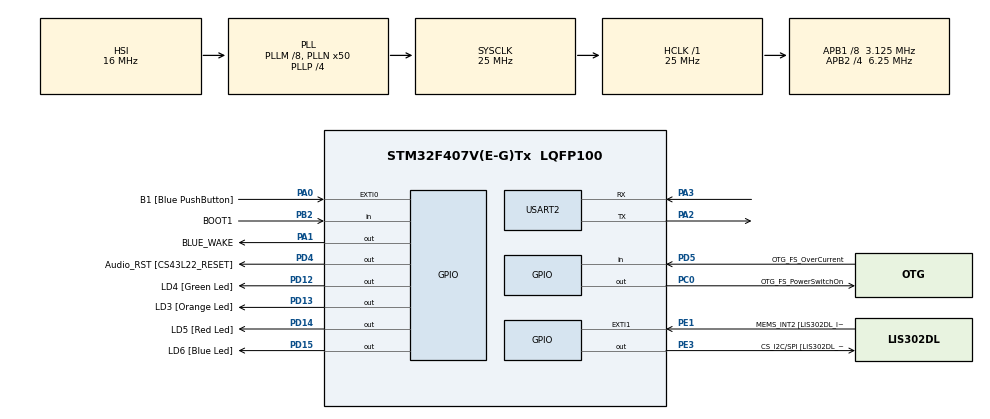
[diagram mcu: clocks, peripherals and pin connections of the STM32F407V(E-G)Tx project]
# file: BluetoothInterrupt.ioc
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Mcu.Family=STM32F4
Mcu.Name=STM32F407V(E-G)Tx
Mcu.Package=LQFP100
NVIC.EXTI0_IRQn=true\:0\:0\:false\:false\:true
NVIC.PriorityGroup=NVIC_PRIORITYGROUP_0
NVIC.USART2_IRQn=true\:0\:0\:false\:false\:true
PA0-WKUP.GPIO_Label=B1 [Blue PushButton]
PA0-WKUP.GPIO_ModeDefaultEXTI=GPIO_MODE_IT_RISING
PA0-WKUP.GPIO_PuPd=GPIO_NOPULL
PA0-WKUP.Signal=GPXTI0
PA1.GPIO_Label=BLUE_WAKE
PA1.Signal=GPIO_Output
PA10.GPIO_Label=OTG_FS_ID
PA10.GPIO_Mode=GPIO_MODE_AF_PP
PA10.GPIO_PuPd=GPIO_NOPULL
PA10.GPIO_Speed=GPIO_SPEED_FREQ_LOW
PA10.Signal=USB_OTG_FS_ID
PA11.GPIO_Label=OTG_FS_DM
PA11.GPIO_Mode=GPIO_MODE_AF_PP
PA11.GPIO_PuPd=GPIO_NOPULL
PA11.GPIO_Speed=GPIO_SPEED_FREQ_LOW
PA11.Signal=USB_OTG_FS_DM
PA12.GPIO_Label=OTG_FS_DP
PA12.GPIO_Mode=GPIO_MODE_AF_PP
PA12.GPIO_PuPd=GPIO_NOPULL
PA12.GPIO_Speed=GPIO_SPEED_FREQ_LOW
PA12.Signal=USB_OTG_FS_DP
PA13.GPIO_Label=SWDIO
PA13.Signal=SYS_JTMS-SWDIO
PA14.GPIO_Label=SWCLK
PA14.Signal=SYS_JTCK-SWCLK
PA2.Mode=Asynchronous
PA2.Signal=USART2_TX
PA3.Mode=Asynchronous
PA3.Signal=USART2_RX
PA4.GPIO_Label=I2S3_WS [CS43L22_LRCK]
PA4.GPIO_Mode=GPIO_MODE_AF_PP
PA4.GPIO_PuPd=GPIO_NOPULL
PA4.GPIO_Speed=GPIO_SPEED_FREQ_LOW
PA4.Signal=I2S3_WS
PA5.GPIO_Label=SPI1_SCK [LIS302DL_SCL/SPC]
PA5.GPIO_Mode=GPIO_MODE_AF_PP
PA5.GPIO_PuPd=GPIO_NOPULL
PA5.GPIO_Speed=GPIO_SPEED_FREQ_LOW
PA5.Signal=SPI1_SCK
PA6.GPIO_Label=SPI1_MISO [LIS302DL_SDO]
PA6.GPIO_Mode=GPIO_MODE_AF_PP
PA6.GPIO_PuPd=GPIO_NOPULL
PA6.GPIO_Speed=GPIO_SPEED_FREQ_LOW
PA6.Signal=SPI1_MISO
PA7.GPIO_Label=SPI1_MOSI [LIS302DL_SDA/SDI/SDO]
PA7.GPIO_Mode=GPIO_MODE_AF_PP
PA7.GPIO_PuPd=GPIO_NOPULL
PA7.GPIO_Speed=GPIO_SPEED_FREQ_LOW
PA7.Signal=SPI1_MOSI
PA9.GPIO_Label=VBUS_FS
PA9.GPIO_Mode=GPIO_MODE_INPUT
PA9.GPIO_PuPd=GPIO_NOPULL
PA9.Signal=USB_OTG_FS_VBUS
PB10.GPIO_Label=CLK_IN [MP45DT02_CLK]
PB10.GPIO_Mode=GPIO_MODE_AF_PP
PB10.GPIO_PuPd=GPIO_NOPULL
PB10.GPIO_Speed=GPIO_SPEED_FREQ_LOW
PB10.Signal=I2S2_CK
PB2.GPIO_Label=BOOT1
PB2.GPIO_Mode=GPIO_MODE_INPUT
PB2.GPIO_PuPd=GPIO_NOPULL
PB2.Signal=GPIO_Input
PB3.GPIO_Label=SWO
PB3.Signal=SYS_JTDO-SWO
PB6.GPIO_Label=Audio_SCL [CS43L22_SCL]
PB6.GPIO_Mode=GPIO_MODE_AF_OD
PB6.GPIO_PuPd=GPIO_NOPULL
PB6.GPIO_Speed=GPIO_SPEED_FREQ_LOW
PB6.Signal=I2C1_SCL
PB9.GPIO_Label=Audio_SDA [CS43L22_SDA]
PB9.GPIO_Mode=GPIO_MODE_AF_OD
PB9.GPIO_PuPd=GPIO_NOPULL
PB9.GPIO_Speed=GPIO_SPEED_FREQ_LOW
PB9.Signal=I2C1_SDA
PC0.GPIO_Label=OTG_FS_PowerSwitchOn
PC0.GPIO_PuPd=GPIO_NOPULL
PC0.GPIO_Speed=GPIO_SPEED_FREQ_LOW
PC0.PinState=GPIO_PIN_SET
PC0.Signal=GPIO_Output
PC10.GPIO_Label=I2S3_SCK [CS43L22_SCLK]
PC10.GPIO_Mode=GPIO_MODE_AF_PP
PC10.GPIO_PuPd=GPIO_NOPULL
PC10.GPIO_Speed=GPIO_SPEED_FREQ_LOW
PC10.Signal=I2S3_CK
PC12.GPIO_Label=I2S3_SD [CS43L22_SDIN]
PC12.GPIO_Mode=GPIO_MODE_AF_PP
PC12.GPIO_PuPd=GPIO_NOPULL
PC12.GPIO_Speed=GPIO_SPEED_FREQ_LOW
PC12.Signal=I2S3_SD
PC14-OSC32_IN.GPIO_Label=PC14-OSC32_IN
PC14-OSC32_IN.Signal=RCC_OSC32_IN
PC15-OSC32_OUT.GPIO_Label=PC15-OSC32_OUT
PC15-OSC32_OUT.Signal=RCC_OSC32_OUT
PC3.GPIO_Label=PDM_OUT [MP45DT02_DOUT]
PC3.GPIO_Mode=GPIO_MODE_AF_PP
PC3.GPIO_PuPd=GPIO_NOPULL
PC3.GPIO_Speed=GPIO_SPEED_FREQ_LOW
PC3.Signal=I2S2_SD
PC7.GPIO_Label=I2S3_MCK [CS43L22_MCLK]
PC7.GPIO_Mode=GPIO_MODE_AF_PP
PC7.GPIO_PuPd=GPIO_NOPULL
PC7.GPIO_Speed=GPIO_SPEED_FREQ_LOW
PC7.Signal=I2S3_MCK
PD12.GPIO_Label=LD4 [Green Led]
PD12.GPIO_PuPd=GPIO_NOPULL
PD12.GPIO_Speed=GPIO_SPEED_FREQ_LOW
PD12.Signal=GPIO_Output
PD13.GPIO_Label=LD3 [Orange Led]
PD13.GPIO_PuPd=GPIO_NOPULL
PD13.GPIO_Speed=GPIO_SPEED_FREQ_LOW
PD13.Signal=GPIO_Output
PD14.GPIO_Label=LD5 [Red Led]
PD14.GPIO_PuPd=GPIO_NOPULL
PD14.GPIO_Speed=GPIO_SPEED_FREQ_LOW
PD14.Signal=GPIO_Output
PD15.GPIO_Label=LD6 [Blue Led]
PD15.GPIO_PuPd=GPIO_NOPULL
PD15.GPIO_Speed=GPIO_SPEED_FREQ_LOW
PD15.Signal=GPIO_Output
PD4.GPIO_Label=Audio_RST [CS43L22_RESET]
PD4.GPIO_PuPd=GPIO_NOPULL
PD4.GPIO_Speed=GPIO_SPEED_FREQ_LOW
PD4.Signal=GPIO_Output
PD5.GPIO_Label=OTG_FS_OverCurrent
PD5.GPIO_Mode=GPIO_MODE_INPUT
PD5.GPIO_PuPd=GPIO_NOPULL
PD5.Signal=GPIO_Input
PE1.GPIO_Label=MEMS_INT2 [LIS302DL_INT2]
PE1.GPIO_ModeDefaultEXTI=GPIO_MODE_EVT_RISING
PE1.GPIO_PuPd=GPIO_NOPULL
PE1.Signal=GPXTI1
PE3.GPIO_Label=CS_I2C/SPI [LIS302DL_CS_I2C/SPI]
PE3.GPIO_PuPd=GPIO_NOPULL
PE3.GPIO_Speed=GPIO_SPEED_FREQ_LOW
PE3.Signal=GPIO_Output
PH0-OSC_IN.GPIO_Label=PH0-OSC_IN
PH0-OSC_IN.Signal=RCC_OSC_IN
PH1-OSC_OUT.GPIO_Label=PH1-OSC_OUT
PH1-OSC_OUT.Signal=RCC_OSC_OUT
ProjectManager.HeapSize=0x200
ProjectManager.StackSize=0x400
ProjectManager.TargetToolchain=SW4STM32
RCC.48MHZClocksFreq_Value=14285714.285714285
RCC.AHBFreq_Value=25000000
RCC.APB1CLKDivider=RCC_HCLK_DIV8
RCC.APB1Freq_Value=3125000
RCC.APB1TimFreq_Value=6250000
RCC.APB2CLKDivider=RCC_HCLK_DIV4
RCC.APB2Freq_Value=6250000
RCC.APB2TimFreq_Value=12500000
RCC.CortexFreq_Value=25000000
RCC.HCLKFreq_Value=25000000
RCC.HSE_VALUE=8000000
RCC.HSI_VALUE=16000000
RCC.LSE_VALUE=32768
RCC.PLLM=8
RCC.PLLN=50
RCC.PLLP=RCC_PLLP_DIV4
RCC.PLLQ=7
RCC.SYSCLKFreq_VALUE=25000000
RCC.SYSCLKSource=RCC_SYSCLKSOURCE_PLLCLK
RCC.VCOOutputFreq_Value=100000000
board=STM32F4DISCOVERY

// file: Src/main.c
/**
  ******************************************************************************
  * File Name          : main.c
  * Description        : Main program body
  ******************************************************************************
  *
  * COPYRIGHT(c) 2016 STMicroelectronics
  *
  * Redistribution and use in source and binary forms, with or without modification,
  * are permitted provided that the following conditions are met:
  *   1. Redistributions of source code must retain the above copyright notice,
  *      this list of conditions and the following disclaimer.
  *   2. Redistributions in binary form must reproduce the above copyright notice,
  *      this list of conditions and the following disclaimer in the documentation
  *      and/or other materials provided with the distribution.
  *   3. Neither the name of STMicroelectronics nor the names of its contributors
  *      may be used to endorse or promote products derived from this software
  *      without specific prior written permission.
  *
  * THIS SOFTWARE IS PROVIDED BY THE COPYRIGHT HOLDERS AND CONTRIBUTORS "AS IS"
  * AND ANY EXPRESS OR IMPLIED WARRANTIES, INCLUDING, BUT NOT LIMITED TO, THE
  * IMPLIED WARRANTIES OF MERCHANTABILITY AND FITNESS FOR A PARTICULAR PURPOSE ARE
  * DISCLAIMED. IN NO EVENT SHALL THE COPYRIGHT HOLDER OR CONTRIBUTORS BE LIABLE
  * FOR ANY DIRECT, INDIRECT, INCIDENTAL, SPECIAL, EXEMPLARY, OR CONSEQUENTIAL
  * DAMAGES (INCLUDING, BUT NOT LIMITED TO, PROCUREMENT OF SUBSTITUTE GOODS OR
  * SERVICES; LOSS OF USE, DATA, OR PROFITS; OR BUSINESS INTERRUPTION) HOWEVER
  * CAUSED AND ON ANY THEORY OF LIABILITY, WHETHER IN CONTRACT, STRICT LIABILITY,
  * OR TORT (INCLUDING NEGLIGENCE OR OTHERWISE) ARISING IN ANY WAY OUT OF THE USE
  * OF THIS SOFTWARE, EVEN IF ADVISED OF THE POSSIBILITY OF SUCH DAMAGE.
  *
  ******************************************************************************
  */
#include "main.h"
#include "stm32f4xx_hal.h"

UART_HandleTypeDef huart2;

/* USER CODE BEGIN PV */
/* Private variables ---------------------------------------------------------*/
char bluetoothTxBuffer[100] = "R,1\r\n";
uint8_t bluetoothRxBuffer[2] = {0};

uint8_t commandBuffer[30] = {0};
uint8_t commandBufferIndex = 0;
volatile uint8_t commandReceiveCompleted = 0;

uint8_t currentBatteryLevel = 0;
volatile uint8_t changeBatteryService = 0;

/* USER CODE END PV */

void SystemClock_Config(void);
void Error_Handler(void);
static void MX_GPIO_Init(void);
static void MX_USART2_UART_Init(void);

/* USER CODE BEGIN PFP */
/* Private function prototypes -----------------------------------------------*/

/* USER CODE END PFP */

/* USER CODE BEGIN 0 */
void HAL_UART_RxCpltCallback (UART_HandleTypeDef* huart) {
	if (huart->Instance == USART2) {
		// If we are receiving a new command, zero out its buffer
		if (commandBufferIndex == 0) for (uint8_t i = 0; i < 30; i++) commandBuffer[i] = 0;

		// Check if we have received new-line - end of command
		if (commandReceiveCompleted == 0 && bluetoothRxBuffer[0] != '\n') {
			// Add the received character to the end of the commandBuffer
			commandBuffer[commandBufferIndex++] = bluetoothRxBuffer[0];
		} else if (bluetoothRxBuffer[0] == '\n') {
			commandBufferIndex = 0;
			commandReceiveCompleted = 1;
		}
	}
	HAL_UART_Receive_IT(&huart2, bluetoothRxBuffer, 1);
}

void HAL_GPIO_EXTI_Callback(uint16_t GPIO_Pin) {
	if (GPIO_Pin == B1_Pin) {
		changeBatteryService = 1;
	}
}

void HAL_UART_ErrorCallback(UART_HandleTypeDef* huart) {
	HAL_GPIO_TogglePin(LD5_GPIO_Port, LD5_Pin);
	HAL_UART_Receive_IT(&huart2, bluetoothRxBuffer, 1);
}

void BLUE_Process_Command(uint8_t* command) {
	// We are only interested in the WV,001C command
	if (command[0] == 'W' && command[1] == 'V') {
		if (command[5] == '1' && command[6] == 'C') {
			GPIO_PinState stateToSet = GPIO_PIN_SET;
			if (command[8] == '0' && command[9] == '0') {
				stateToSet = GPIO_PIN_RESET;
			}
			HAL_GPIO_WritePin(LD6_GPIO_Port, LD6_Pin, stateToSet);
		}
	}

	commandReceiveCompleted = 0;
}

void BLUE_Update_Battery() {
	uint8_t commandToSend[] = "SUW,2A19,00\r\n";

	if (currentBatteryLevel == 0) {
		currentBatteryLevel = 99;

		// 63 because the RN4020 takes hex :( and 99 in dec is 63 in hex
		commandToSend[9] = '6';
		commandToSend[10] = '3';
		HAL_UART_Transmit(&huart2, commandToSend, 13, 100);
	} else {
		currentBatteryLevel = 0;
		HAL_UART_Transmit(&huart2, commandToSend, 13, 100);
	}

	changeBatteryService = 0;
}
/* USER CODE END 0 */

int main(void)
{

  /* MCU Configuration----------------------------------------------------------*/

  /* Reset of all peripherals, Initializes the Flash interface and the Systick. */
  HAL_Init();

  /* Configure the system clock */
  SystemClock_Config();

  /* Initialize all configured peripherals */
  MX_GPIO_Init();
  MX_USART2_UART_Init();

  /* USER CODE BEGIN 2 */
  // Wake up the RN4020
  HAL_GPIO_WritePin(BLUE_WAKE_GPIO_Port, BLUE_WAKE_Pin, GPIO_PIN_SET);
  HAL_Delay(100);

  // Restart RN4020 module
  HAL_UART_Transmit(&huart2, (uint8_t *) bluetoothTxBuffer, 5, 10);

  // After restarting, will automatically advertise if configured with SR,20000000
  HAL_Delay(3000);

  // Set UART receive on an interrupt
  HAL_UART_Receive_IT(&huart2, bluetoothRxBuffer, 1);
  /* USER CODE END 2 */

  /* Infinite loop */
  while (1)
  {

  /* USER CODE BEGIN 3 */
	  if (commandReceiveCompleted) BLUE_Process_Command(commandBuffer);
	  if (changeBatteryService) BLUE_Update_Battery();
  }
  /* USER CODE END 3 */

}

/** System Clock Configuration
*/
void SystemClock_Config(void)
{

  RCC_OscInitTypeDef RCC_OscInitStruct;
  RCC_ClkInitTypeDef RCC_ClkInitStruct;

    /**Configure the main internal regulator output voltage
    */
  __HAL_RCC_PWR_CLK_ENABLE();

  __HAL_PWR_VOLTAGESCALING_CONFIG(PWR_REGULATOR_VOLTAGE_SCALE1);

    /**Initializes the CPU, AHB and APB busses clocks
    */
  RCC_OscInitStruct.OscillatorType = RCC_OSCILLATORTYPE_HSI;
  RCC_OscInitStruct.HSIState = RCC_HSI_ON;
  RCC_OscInitStruct.HSICalibrationValue = 16;
  RCC_OscInitStruct.PLL.PLLState = RCC_PLL_ON;
  RCC_OscInitStruct.PLL.PLLSource = RCC_PLLSOURCE_HSI;
  RCC_OscInitStruct.PLL.PLLM = 8;
  RCC_OscInitStruct.PLL.PLLN = 50;
  RCC_OscInitStruct.PLL.PLLP = RCC_PLLP_DIV4;
  RCC_OscInitStruct.PLL.PLLQ = 7;
  if (HAL_RCC_OscConfig(&RCC_OscInitStruct) != HAL_OK)
  {
    Error_Handler();
  }

    /**Initializes the CPU, AHB and APB busses clocks
    */
  RCC_ClkInitStruct.ClockType = RCC_CLOCKTYPE_HCLK|RCC_CLOCKTYPE_SYSCLK
                              |RCC_CLOCKTYPE_PCLK1|RCC_CLOCKTYPE_PCLK2;
  RCC_ClkInitStruct.SYSCLKSource = RCC_SYSCLKSOURCE_PLLCLK;
  RCC_ClkInitStruct.AHBCLKDivider = RCC_SYSCLK_DIV1;
  RCC_ClkInitStruct.APB1CLKDivider = RCC_HCLK_DIV8;
  RCC_ClkInitStruct.APB2CLKDivider = RCC_HCLK_DIV4;

  if (HAL_RCC_ClockConfig(&RCC_ClkInitStruct, FLASH_LATENCY_0) != HAL_OK)
  {
    Error_Handler();
  }

    /**Configure the Systick interrupt time
    */
  HAL_SYSTICK_Config(HAL_RCC_GetHCLKFreq()/1000);

    /**Configure the Systick
    */
  HAL_SYSTICK_CLKSourceConfig(SYSTICK_CLKSOURCE_HCLK);

  /* SysTick_IRQn interrupt configuration */
  HAL_NVIC_SetPriority(SysTick_IRQn, 0, 0);
}

/* USART2 init function */
static void MX_USART2_UART_Init(void)
{

  huart2.Instance = USART2;
  huart2.Init.BaudRate = 115200;
  huart2.Init.WordLength = UART_WORDLENGTH_8B;
  huart2.Init.StopBits = UART_STOPBITS_1;
  huart2.Init.Parity = UART_PARITY_NONE;
  huart2.Init.Mode = UART_MODE_TX_RX;
  huart2.Init.HwFlowCtl = UART_HWCONTROL_NONE;
  huart2.Init.OverSampling = UART_OVERSAMPLING_16;
  if (HAL_UART_Init(&huart2) != HAL_OK)
  {
    Error_Handler();
  }

}

/** Configure pins as
        * Analog
        * Input
        * Output
        * EVENT_OUT
        * EXTI
     PC3   ------> I2S2_SD
     PA4   ------> I2S3_WS
     PA5   ------> SPI1_SCK
     PA6   ------> SPI1_MISO
     PA7   ------> SPI1_MOSI
     PB10   ------> I2S2_CK
     PC7   ------> I2S3_MCK
     PA9   ------> USB_OTG_FS_VBUS
     PA10   ------> USB_OTG_FS_ID
     PA11   ------> USB_OTG_FS_DM
     PA12   ------> USB_OTG_FS_DP
     PC10   ------> I2S3_CK
     PC12   ------> I2S3_SD
     PB6   ------> I2C1_SCL
     PB9   ------> I2C1_SDA
*/
static void MX_GPIO_Init(void)
{

  GPIO_InitTypeDef GPIO_InitStruct;

  /* GPIO Ports Clock Enable */
  __HAL_RCC_GPIOE_CLK_ENABLE();
  __HAL_RCC_GPIOC_CLK_ENABLE();
  __HAL_RCC_GPIOH_CLK_ENABLE();
  __HAL_RCC_GPIOA_CLK_ENABLE();
  __HAL_RCC_GPIOB_CLK_ENABLE();
  __HAL_RCC_GPIOD_CLK_ENABLE();

  /*Configure GPIO pin Output Level */
  HAL_GPIO_WritePin(CS_I2C_SPI_GPIO_Port, CS_I2C_SPI_Pin, GPIO_PIN_RESET);

  /*Configure GPIO pin Output Level */
  HAL_GPIO_WritePin(OTG_FS_PowerSwitchOn_GPIO_Port, OTG_FS_PowerSwitchOn_Pin, GPIO_PIN_SET);

  /*Configure GPIO pin Output Level */
  HAL_GPIO_WritePin(BLUE_WAKE_GPIO_Port, BLUE_WAKE_Pin, GPIO_PIN_RESET);

  /*Configure GPIO pin Output Level */
  HAL_GPIO_WritePin(GPIOD, LD4_Pin|LD3_Pin|LD5_Pin|LD6_Pin
                          |Audio_RST_Pin, GPIO_PIN_RESET);

  /*Configure GPIO pin : CS_I2C_SPI_Pin */
  GPIO_InitStruct.Pin = CS_I2C_SPI_Pin;
  GPIO_InitStruct.Mode = GPIO_MODE_OUTPUT_PP;
  GPIO_InitStruct.Pull = GPIO_NOPULL;
  GPIO_InitStruct.Speed = GPIO_SPEED_FREQ_LOW;
  HAL_GPIO_Init(CS_I2C_SPI_GPIO_Port, &GPIO_InitStruct);

  /*Configure GPIO pin : OTG_FS_PowerSwitchOn_Pin */
  GPIO_InitStruct.Pin = OTG_FS_PowerSwitchOn_Pin;
  GPIO_InitStruct.Mode = GPIO_MODE_OUTPUT_PP;
  GPIO_InitStruct.Pull = GPIO_NOPULL;
  GPIO_InitStruct.Speed = GPIO_SPEED_FREQ_LOW;
  HAL_GPIO_Init(OTG_FS_PowerSwitchOn_GPIO_Port, &GPIO_InitStruct);

  /*Configure GPIO pin : PDM_OUT_Pin */
  GPIO_InitStruct.Pin = PDM_OUT_Pin;
  GPIO_InitStruct.Mode = GPIO_MODE_AF_PP;
  GPIO_InitStruct.Pull = GPIO_NOPULL;
  GPIO_InitStruct.Speed = GPIO_SPEED_FREQ_LOW;
  GPIO_InitStruct.Alternate = GPIO_AF5_SPI2;
  HAL_GPIO_Init(PDM_OUT_GPIO_Port, &GPIO_InitStruct);

  /*Configure GPIO pin : B1_Pin */
  GPIO_InitStruct.Pin = B1_Pin;
  GPIO_InitStruct.Mode = GPIO_MODE_IT_RISING;
  GPIO_InitStruct.Pull = GPIO_NOPULL;
  HAL_GPIO_Init(B1_GPIO_Port, &GPIO_InitStruct);

  /*Configure GPIO pin : BLUE_WAKE_Pin */
  GPIO_InitStruct.Pin = BLUE_WAKE_Pin;
  GPIO_InitStruct.Mode = GPIO_MODE_OUTPUT_PP;
  GPIO_InitStruct.Pull = GPIO_NOPULL;
  GPIO_InitStruct.Speed = GPIO_SPEED_FREQ_LOW;
  HAL_GPIO_Init(BLUE_WAKE_GPIO_Port, &GPIO_InitStruct);

  /*Configure GPIO pin : PA4 */
  GPIO_InitStruct.Pin = GPIO_PIN_4;
  GPIO_InitStruct.Mode = GPIO_MODE_AF_PP;
  GPIO_InitStruct.Pull = GPIO_NOPULL;
  GPIO_InitStruct.Speed = GPIO_SPEED_FREQ_LOW;
  GPIO_InitStruct.Alternate = GPIO_AF6_SPI3;
  HAL_GPIO_Init(GPIOA, &GPIO_InitStruct);

  /*Configure GPIO pins : PA5 PA6 PA7 */
  GPIO_InitStruct.Pin = GPIO_PIN_5|GPIO_PIN_6|GPIO_PIN_7;
  GPIO_InitStruct.Mode = GPIO_MODE_AF_PP;
  GPIO_InitStruct.Pull = GPIO_NOPULL;
  GPIO_InitStruct.Speed = GPIO_SPEED_FREQ_LOW;
  GPIO_InitStruct.Alternate = GPIO_AF5_SPI1;
  HAL_GPIO_Init(GPIOA, &GPIO_InitStruct);

  /*Configure GPIO pin : BOOT1_Pin */
  GPIO_InitStruct.Pin = BOOT1_Pin;
  GPIO_InitStruct.Mode = GPIO_MODE_INPUT;
  GPIO_InitStruct.Pull = GPIO_NOPULL;
  HAL_GPIO_Init(BOOT1_GPIO_Port, &GPIO_InitStruct);

  /*Configure GPIO pin : CLK_IN_Pin */
  GPIO_InitStruct.Pin = CLK_IN_Pin;
  GPIO_InitStruct.Mode = GPIO_MODE_AF_PP;
  GPIO_InitStruct.Pull = GPIO_NOPULL;
  GPIO_InitStruct.Speed = GPIO_SPEED_FREQ_LOW;
  GPIO_InitStruct.Alternate = GPIO_AF5_SPI2;
  HAL_GPIO_Init(CLK_IN_GPIO_Port, &GPIO_InitStruct);

  /*Configure GPIO pins : LD4_Pin LD3_Pin LD5_Pin LD6_Pin
                           Audio_RST_Pin */
  GPIO_InitStruct.Pin = LD4_Pin|LD3_Pin|LD5_Pin|LD6_Pin
                          |Audio_RST_Pin;
  GPIO_InitStruct.Mode = GPIO_MODE_OUTPUT_PP;
  GPIO_InitStruct.Pull = GPIO_NOPULL;
  GPIO_InitStruct.Speed = GPIO_SPEED_FREQ_LOW;
  HAL_GPIO_Init(GPIOD, &GPIO_InitStruct);

  /*Configure GPIO pins : PC7 I2S3_SCK_Pin PC12 */
  GPIO_InitStruct.Pin = GPIO_PIN_7|I2S3_SCK_Pin|GPIO_PIN_12;
  GPIO_InitStruct.Mode = GPIO_MODE_AF_PP;
  GPIO_InitStruct.Pull = GPIO_NOPULL;
  GPIO_InitStruct.Speed = GPIO_SPEED_FREQ_LOW;
  GPIO_InitStruct.Alternate = GPIO_AF6_SPI3;
  HAL_GPIO_Init(GPIOC, &GPIO_InitStruct);

  /*Configure GPIO pin : VBUS_FS_Pin */
  GPIO_InitStruct.Pin = VBUS_FS_Pin;
  GPIO_InitStruct.Mode = GPIO_MODE_INPUT;
  GPIO_InitStruct.Pull = GPIO_NOPULL;
  HAL_GPIO_Init(VBUS_FS_GPIO_Port, &GPIO_InitStruct);

  /*Configure GPIO pins : OTG_FS_ID_Pin OTG_FS_DM_Pin OTG_FS_DP_Pin */
  GPIO_InitStruct.Pin = OTG_FS_ID_Pin|OTG_FS_DM_Pin|OTG_FS_DP_Pin;
  GPIO_InitStruct.Mode = GPIO_MODE_AF_PP;
  GPIO_InitStruct.Pull = GPIO_NOPULL;
  GPIO_InitStruct.Speed = GPIO_SPEED_FREQ_LOW;
  GPIO_InitStruct.Alternate = GPIO_AF10_OTG_FS;
  HAL_GPIO_Init(GPIOA, &GPIO_InitStruct);

  /*Configure GPIO pin : OTG_FS_OverCurrent_Pin */
  GPIO_InitStruct.Pin = OTG_FS_OverCurrent_Pin;
  GPIO_InitStruct.Mode = GPIO_MODE_INPUT;
  GPIO_InitStruct.Pull = GPIO_NOPULL;
  HAL_GPIO_Init(OTG_FS_OverCurrent_GPIO_Port, &GPIO_InitStruct);

  /*Configure GPIO pins : Audio_SCL_Pin Audio_SDA_Pin */
  GPIO_InitStruct.Pin = Audio_SCL_Pin|Audio_SDA_Pin;
  GPIO_InitStruct.Mode = GPIO_MODE_AF_OD;
  GPIO_InitStruct.Pull = GPIO_PULLUP;
  GPIO_InitStruct.Speed = GPIO_SPEED_FREQ_LOW;
  GPIO_InitStruct.Alternate = GPIO_AF4_I2C1;
  HAL_GPIO_Init(GPIOB, &GPIO_InitStruct);

  /*Configure GPIO pin : MEMS_INT2_Pin */
  GPIO_InitStruct.Pin = MEMS_INT2_Pin;
  GPIO_InitStruct.Mode = GPIO_MODE_EVT_RISING;
  GPIO_InitStruct.Pull = GPIO_NOPULL;
  HAL_GPIO_Init(MEMS_INT2_GPIO_Port, &GPIO_InitStruct);

  /* EXTI interrupt init*/
  HAL_NVIC_SetPriority(EXTI0_IRQn, 0, 0);
  HAL_NVIC_EnableIRQ(EXTI0_IRQn);

}

void Error_Handler(void)
{
  while(1)
  {
  }
}

/************************ (C) COPYRIGHT STMicroelectronics *****END OF FILE****/
